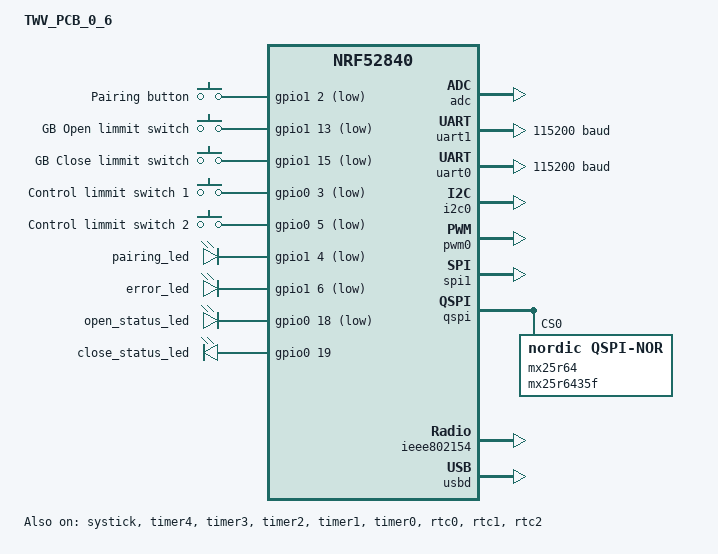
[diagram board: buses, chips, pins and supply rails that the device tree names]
// Copyright (c) 2023 Nordic Semiconductor ASA
// SPDX-License-Identifier: Apache-2.0

/dts-v1/;
#include <nordic/nrf52840_qiaa.dtsi>
#include "twv_pcb_0_6-pinctrl.dtsi"

/ {
	model = "TWV_PCB_0_6";
	compatible = "uhome,twv-pcb-0-6";

	chosen {
		zephyr,console = &uart0;
		zephyr,shell-uart = &uart0;
		zephyr,uart-mcumgr = &uart0;
		zephyr,bt-mon-uart = &uart0;
		zephyr,bt-c2h-uart = &uart0;
		zephyr,sram = &sram0;
		zephyr,flash = &flash0;
		zephyr,code-partition = &slot0_partition;
		zephyr,ieee802154 = &ieee802154;
	};

	buttons {
		compatible = "gpio-keys";
		pairing {
			gpios = <&gpio1 2 (GPIO_ACTIVE_LOW)>;
			label = "Pairing button";
		};

		open {
			gpios = <&gpio1 13 (GPIO_ACTIVE_LOW)>;
			label = "GB Open limmit switch";
		};

		close {
			gpios = <&gpio1 15 (GPIO_ACTIVE_LOW)>;
			label = "GB Close limmit switch";
		};

		contro_1 {
			gpios = <&gpio0 3 (GPIO_ACTIVE_LOW)>;
			label = "Control limmit switch 1";
		};

		control_2 {
			gpios = <&gpio0 5 (GPIO_ACTIVE_LOW)>;
			label = "Control limmit switch 2";
		};
	};

	led_indication {
		compatible = "gpio-leds";
		pairing_led {
			gpios = <&gpio1 4 (GPIO_ACTIVE_LOW)>;
		};

		error_led {
			gpios = <&gpio1 6 (GPIO_ACTIVE_LOW)>;
		};

		open_status_led {
			gpios = <&gpio0 18 (GPIO_ACTIVE_LOW)>;
		};

		close_status_led {
			gpios = <&gpio0 19 0>;
		};
	};
};

&flash0 {

	partitions {
		compatible = "fixed-partitions";
		#address-cells = <1>;
		#size-cells = <1>;

		boot_partition: partition@0 {
			label = "mcuboot";
			reg = <0x00000000 0x0000C000>;
		};
		slot0_partition: partition@c000 {
			label = "image-0";
			reg = <0x0000C000 0x00076000>;
		};
		slot1_partition: partition@82000 {
			label = "image-1";
			reg = <0x00082000 0x00076000>;
		};

		/*
		 * The flash starting at 0x000f8000 and ending at
		 * 0x000fffff is reserved for use by the application.
		 */

		/*
		 * Storage partition will be used by FCB/LittleFS/NVS
		 * if enabled.
		 */
		storage_partition: partition@f8000 {
			label = "storage";
			reg = <0x000f8000 0x00008000>;
		};
	};
};

&adc {
    status = "okay";
};

&gpio0 {
    status = "okay";
};

&gpio1 {
    status = "okay";
};

&gpiote {
    status = "okay";
};

&uart1 {
	current-speed = <115200>;
	pinctrl-0 = <&uart1_default>;
	pinctrl-1 = <&uart1_sleep>;
	pinctrl-names = "default", "sleep";
};

&uart0 {
	compatible = "nordic,nrf-uarte";
	status = "okay";
	current-speed = <115200>;
	pinctrl-0 = <&uart0_default>;
	pinctrl-1 = <&uart0_sleep>;
	pinctrl-names = "default", "sleep";
};

&systick {
    status = "okay";
};

&timer4 {
    status = "okay";
};

&timer3 {
    status = "okay";
};

&timer2 {
    status = "okay";
};

&timer1 {
    status = "okay";
};

&timer0 {
    status = "okay";
};

&rtc0 {
    status = "okay";
};

&rtc1 {
    status = "okay";
};

&rtc2 {
    status = "okay";
};

&i2c0 {
	compatible = "nordic,nrf-twi";
	status = "okay";
	pinctrl-0 = <&i2c0_default>;
	pinctrl-1 = <&i2c0_sleep>;
	pinctrl-names = "default", "sleep";
};

&i2c1 {
	compatible = "nordic,nrf-twi";
	/* Cannot be used together with spi1. */
	/* status = "okay"; */
	pinctrl-0 = <&i2c1_default>;
	pinctrl-1 = <&i2c1_sleep>;
	pinctrl-names = "default", "sleep";
};

&pwm0 {
	status = "okay";
	pinctrl-0 = <&pwm0_default>;
	pinctrl-1 = <&pwm0_sleep>;
	pinctrl-names = "default", "sleep";
};

&spi0 {
	compatible = "nordic,nrf-spi";
	/* Cannot be used together with i2c0. */
	/* status = "okay"; */
	pinctrl-0 = <&spi0_default>;
	pinctrl-1 = <&spi0_sleep>;
	pinctrl-names = "default", "sleep";
};

&spi1 {
	compatible = "nordic,nrf-spi";
	status = "okay";
	pinctrl-0 = <&spi1_default>;
	pinctrl-1 = <&spi1_sleep>;
	pinctrl-names = "default", "sleep";
};

&spi2 {
	compatible = "nordic,nrf-spi";
	status = "disabled";
	pinctrl-0 = <&spi2_default>;
	pinctrl-1 = <&spi2_sleep>;
	pinctrl-names = "default", "sleep";
};

&qspi {
	status = "okay";
	pinctrl-0 = <&qspi_default>;
	pinctrl-1 = <&qspi_sleep>;
	pinctrl-names = "default", "sleep";
	mx25r64: mx25r6435f@0 {
		compatible = "nordic,qspi-nor";
		reg = <0>;
		/* MX25R64 supports only pp and pp4io */
		writeoc = "pp4io";
		/* MX25R64 supports all readoc options */
		readoc = "read4io";
		sck-frequency = <8000000>;
		jedec-id = [c2 28 17];
		sfdp-bfp = [
			e5 20 f1 ff  ff ff ff 03  44 eb 08 6b  08 3b 04 bb
			ee ff ff ff  ff ff 00 ff  ff ff 00 ff  0c 20 0f 52
			10 d8 00 ff  23 72 f5 00  82 ed 04 cc  44 83 68 44
			30 b0 30 b0  f7 c4 d5 5c  00 be 29 ff  f0 d0 ff ff
		];
		size = <67108864>;
		has-dpd;
		t-enter-dpd = <10000>;
		t-exit-dpd = <35000>;
	};
};

&ieee802154 {
	status = "okay";
};

zephyr_udc0: &usbd {
	compatible = "nordic,nrf-usbd";
	status = "okay";
};

